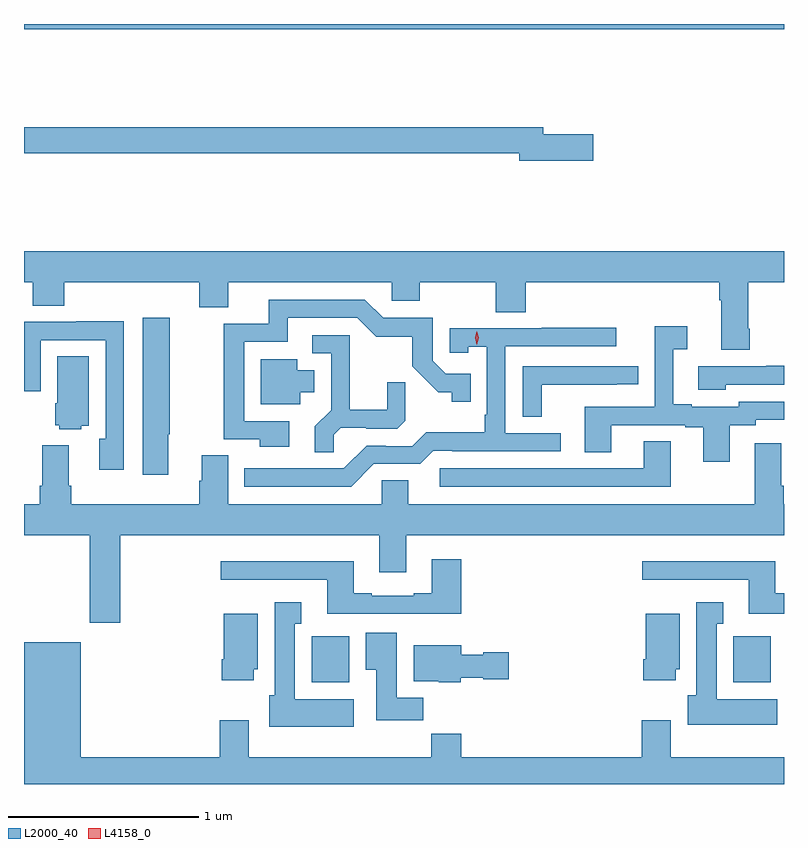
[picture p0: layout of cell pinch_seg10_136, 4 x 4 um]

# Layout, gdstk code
import gdstk
lib = gdstk.Library(unit=1e-6, precision=1e-09)
def R(c, l, rs):  # rectangles x0, y0, x1, y1
    for r in rs: c.add(gdstk.rectangle(r[:2], r[2:], *l))
def P(c, l, *ps):  # polygons
    for p in ps: c.add(gdstk.Polygon(p, *l))
L2000_40 = (2000, 40)
L4158_0 = (4158, 0)

pinch_seg10_136 = lib.new_cell('pinch_seg10_136')
R(pinch_seg10_136, L2000_40, [(730.574,1272.902,730.771,1273.144), (732.794,1272.902,732.991,1273.144), (729.06,1276.34,733.06,1276.367)])
P(pinch_seg10_136, L2000_40, [(732.055,1275.788),(731.794,1275.788),(731.794,1275.824),(729.06,1275.824),(729.06,1275.688),(731.666,1275.688),(731.666,1275.646),(732.055,1275.646)],
  [(732.879,1274.764),(732.871,1274.764),(732.871,1275.008),(733.06,1275.008),(733.06,1275.172),(729.06,1275.172),(729.06,1275.008),(729.107,1275.008),(729.107,1274.884),(729.272,1274.884),(729.272,1275.008),(729.983,1275.008),(729.983,1274.875),(730.135,1274.875),(730.135,1275.008),(730.995,1275.008),(730.995,1274.91),(731.142,1274.91),(731.142,1275.008),(731.542,1275.008),(731.542,1274.851),(731.702,1274.851),(731.702,1275.008),(732.719,1275.008),(732.719,1274.912),(732.731,1274.912),(732.731,1274.652),(732.879,1274.652)],
  [(730.456,1274.277),(730.218,1274.277),(730.218,1274.694),(730.447,1274.694),(730.447,1274.82),(730.815,1274.82),(730.914,1274.722),(731.103,1274.722),(731.103,1274.566),(731.24,1274.429),(731.31,1274.429),(731.31,1274.379),(731.411,1274.379),(731.411,1274.526),(731.28,1274.526),(731.211,1274.595),(731.211,1274.82),(730.95,1274.82),(730.854,1274.916),(730.349,1274.916),(730.349,1274.79),(730.11,1274.79),(730.11,1274.181),(730.3,1274.181),(730.3,1274.141),(730.456,1274.141)],
  [(729.82,1274.207),(729.828,1274.207),(729.828,1274.821),(729.686,1274.821),(729.686,1273.995),(729.82,1273.995)],
  [(729.585,1274.803),(729.335,1274.803),(729.335,1274.799),(729.06,1274.799),(729.06,1274.433),(729.147,1274.433),(729.147,1274.703),(729.489,1274.703),(729.489,1274.183),(729.455,1274.183),(729.455,1274.022),(729.585,1274.022)],
  [(732.775,1274.256),(732.912,1274.256),(732.912,1274.283),(733.06,1274.283),(733.06,1274.379),(732.822,1274.379),(732.822,1274.352),(732.574,1274.352),(732.574,1274.365),(732.478,1274.365),(732.478,1274.656),(732.55,1274.656),(732.55,1274.776),(732.381,1274.776),(732.381,1274.352),(732.011,1274.352),(732.011,1274.113),(732.151,1274.113),(732.151,1274.256),(732.539,1274.256),(732.539,1274.244),(732.635,1274.244),(732.635,1274.064),(732.775,1274.064)],
  [(730.902,1274.052),(731.145,1274.052),(731.214,1274.121),(731.314,1274.121),(731.314,1274.118),(731.884,1274.118),(731.884,1274.214),(731.592,1274.214),(731.592,1274.67),(732.178,1274.67),(732.178,1274.769),(731.785,1274.769),(731.785,1274.766),(731.301,1274.766),(731.301,1274.637),(731.397,1274.637),(731.397,1274.669),(731.496,1274.669),(731.496,1274.311),(731.484,1274.311),(731.484,1274.218),(731.176,1274.218),(731.103,1274.145),(730.964,1274.145),(730.964,1274.148),(730.863,1274.148),(730.743,1274.028),(730.22,1274.028),(730.22,1273.932),(730.782,1273.932)],
  [(730.689,1274.204),(730.726,1274.241),(730.86,1274.241),(730.86,1274.238),(731.025,1274.238),(731.066,1274.279),(731.066,1274.481),(730.972,1274.481),(730.972,1274.338),(730.775,1274.338),(730.775,1274.73),(730.578,1274.73),(730.578,1274.634),(730.677,1274.634),(730.677,1274.335),(730.591,1274.249),(730.591,1274.113),(730.689,1274.113)],
  [(729.36,1274.252),(729.4,1274.252),(729.4,1274.618),(729.236,1274.618),(729.236,1274.37),(729.224,1274.37),(729.224,1274.256),(729.246,1274.256),(729.246,1274.234),(729.36,1274.234)],
  [(730.513,1274.429),(730.588,1274.429),(730.588,1274.545),(730.498,1274.545),(730.498,1274.602),(730.307,1274.602),(730.307,1274.366),(730.513,1274.366)],
  [(732.753,1274.469),(733.06,1274.469),(733.06,1274.568),(732.967,1274.568),(732.967,1274.565),(732.609,1274.565),(732.609,1274.441),(732.753,1274.441)],
  [(731.784,1274.469),(732.179,1274.469),(732.179,1274.47),(732.292,1274.47),(732.292,1274.565),(731.685,1274.565),(731.685,1274.299),(731.784,1274.299)],
  [(732.463,1274.171),(732.323,1274.171),(732.323,1274.028),(731.247,1274.028),(731.247,1273.932),(732.463,1273.932)],
  [(729.566,1273.676),(730.931,1273.676),(730.931,1273.482),(731.071,1273.482),(731.071,1273.676),(733.06,1273.676),(733.06,1273.84),(733.058,1273.84),(733.058,1273.936),(733.045,1273.936),(733.045,1274.161),(732.905,1274.161),(732.905,1273.84),(731.083,1273.84),(731.083,1273.967),(730.944,1273.967),(730.944,1273.84),(730.135,1273.84),(730.135,1274.096),(729.995,1274.096),(729.995,1273.962),(729.983,1273.962),(729.983,1273.84),(729.308,1273.84),(729.308,1273.936),(729.295,1273.936),(729.295,1274.149),(729.155,1274.149),(729.155,1273.936),(729.143,1273.936),(729.143,1273.84),(729.06,1273.84),(729.06,1273.676),(729.406,1273.676),(729.406,1273.215),(729.566,1273.215)],
  [(731.36,1273.549),(731.207,1273.549),(731.207,1273.372),(731.111,1273.372),(731.111,1273.359),(730.891,1273.359),(730.891,1273.372),(730.795,1273.372),(730.795,1273.54),(730.095,1273.54),(730.095,1273.443),(730.655,1273.443),(730.655,1273.263),(731.119,1273.263),(731.119,1273.262),(731.36,1273.262)],
  [(733.06,1273.372),(733.015,1273.372),(733.015,1273.54),(732.315,1273.54),(732.315,1273.443),(732.875,1273.443),(732.875,1273.262),(733.06,1273.262)],
  [(730.795,1272.814),(730.486,1272.814),(730.486,1273.211),(730.519,1273.211),(730.519,1273.324),(730.379,1273.324),(730.379,1272.834),(730.352,1272.834),(730.352,1272.668),(730.795,1272.668)],
  [(733.024,1272.814),(732.706,1272.814),(732.706,1273.211),(732.739,1273.211),(732.739,1273.324),(732.599,1273.324),(732.599,1272.834),(732.554,1272.834),(732.554,1272.68),(733.024,1272.68)],
  [(730.27,1272.972),(730.291,1272.972),(730.291,1273.264),(730.112,1273.264),(730.112,1273.024),(730.1,1273.024),(730.1,1272.912),(730.27,1272.912)],
  [(732.49,1272.972),(732.511,1272.972),(732.511,1273.264),(732.332,1273.264),(732.332,1273.024),(732.32,1273.024),(732.32,1272.912),(732.49,1272.912)],
  [(731.162,1272.82),(731.023,1272.82),(731.023,1273.162),(730.859,1273.162),(730.859,1272.968),(730.913,1272.968),(730.913,1272.702),(731.162,1272.702)],
  [(733.06,1272.508),(732.463,1272.508),(732.463,1272.703),(732.311,1272.703),(732.311,1272.508),(731.36,1272.508),(731.36,1272.632),(731.203,1272.632),(731.203,1272.508),(730.243,1272.508),(730.243,1272.703),(730.091,1272.703),(730.091,1272.508),(729.358,1272.508),(729.358,1273.114),(729.06,1273.114),(729.06,1272.367),(733.06,1272.367)],
  [(731.358,1272.926),(731.478,1272.926),(731.478,1272.919),(731.611,1272.919),(731.611,1273.061),(731.478,1273.061),(731.478,1273.048),(731.362,1273.048),(731.362,1273.096),(731.111,1273.096),(731.111,1272.908),(731.244,1272.908),(731.244,1272.902),(731.358,1272.902)])
P(pinch_seg10_136, L4158_0, [(731.444,1274.678),(731.444,1274.679),(731.434,1274.715),(731.444,1274.751),(731.444,1274.751),(731.444,1274.751),(731.454,1274.715),(731.444,1274.679)])

lib.write_gds('pinch_seg10_136.gds')
